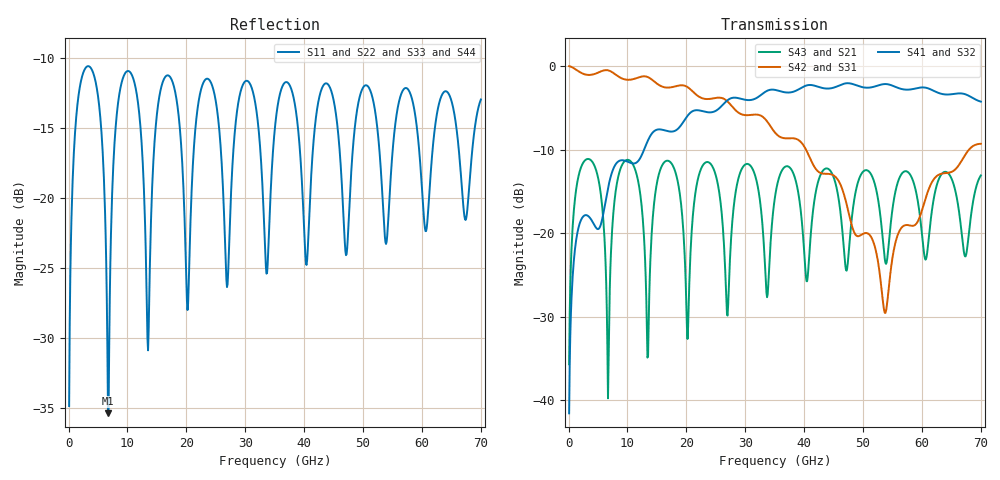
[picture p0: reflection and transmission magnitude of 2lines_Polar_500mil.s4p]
! www.PolarInstruments.com
! File Export V10.11 [9.03]
! For hxji@mail.xidian.edu.cn;QQ=47399897
! File : D:\SJTU\Bachelor\thesis\Multi-line\transmission-line-params-extractor\data\2line\2line_Polar_500mil.s4p
! Polar  PCB Transmission Line Field Solver  v11.04.00
# MHz S DB R 50.00
! Line Length = 0.013m ( 0.50 inch )
!  PORT NUMBERING (Classic style)
!  PORT#  PORT#
!  Z1 = Z2 = 50.00  Z3 = Z4 = 50.00
!  1 --|  |-- 3
!  2 --|  |-- 4
! FREQ MHz  S11  S12  S13  S14
!  S21  S22  S23  S24
!  S31  S32  S33  S34
!  S41  S42  S43  S44
!  DB  ANG  DB  ANG  DB  ANG  DB  ANG
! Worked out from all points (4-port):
!   700 points, 100 MHz to 70 GHz, reference 50 ohm
!   strongest paths, dB at 100 MHz, 17.6 GHz, 35.1 GHz, 52.6 GHz, 70 GHz:
!     S41: -41.6, -7.8, -2.9, -2.3, -4.3
!     S32: -41.6, -7.8, -2.9, -2.3, -4.3
!     S42: 0.0, -2.5, -8.0, -23.7, -9.3
!     S31: 0.0, -2.5, -8.0, -23.7, -9.3
!     S43: -35.7, -11.8, -15.4, -16.2, -13.1
!     S21: -35.7, -11.8, -15.4, -16.2, -13.1
!   lowest |S11| = -35.4 dB at 6.7 GHz (marker M1), VSWR 1.03, Z = 51.5 - j0.771 ohm
!   |S11| at or under -10 dB: start of sweep to end of sweep
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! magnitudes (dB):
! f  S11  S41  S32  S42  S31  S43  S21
! 100 MHz  -34.9  -41.6  -41.6  0.0  0.0  -35.7  -35.7
! 3.3 GHz  -10.5  -17.9  -17.9  -1.1  -1.1  -11.1  -11.1
! 6.7 GHz  -35.4  -14.6  -14.6  -0.5  -0.5  -39.8  -39.8
! 9.9 GHz  -10.9  -11.4  -11.4  -1.6  -1.6  -11.2  -11.2
! 13.4 GHz  -30.0  -9.0  -9.0  -1.3  -1.3  -34.9  -34.9
! 53.7 GHz  -22.8  -2.2  -2.2  -29.5  -29.5  -23.2  -23.2
! 70 GHz  -12.9  -4.3  -4.3  -9.3  -9.3  -13.1  -13.1
